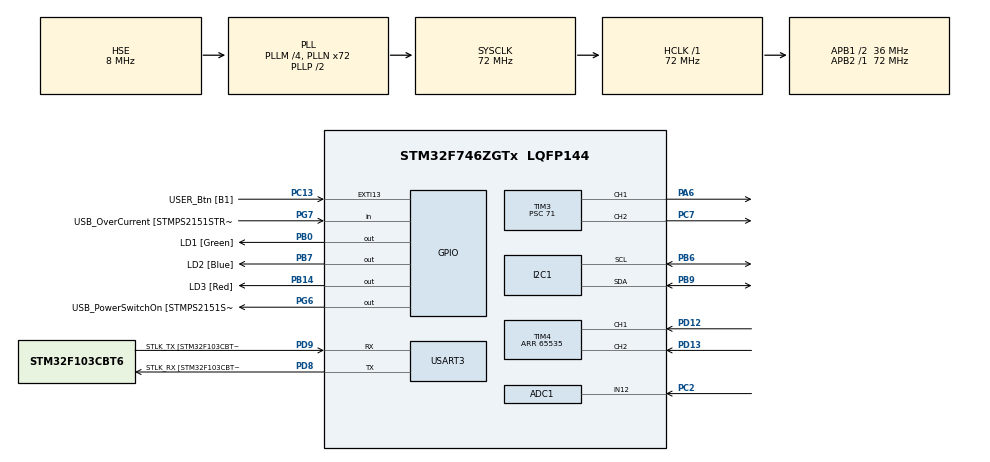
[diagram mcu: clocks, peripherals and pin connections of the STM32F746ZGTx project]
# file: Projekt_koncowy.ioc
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ADC1.Channel-0\#ChannelRegularConversion=ADC_CHANNEL_12
ADC1.NbrOfConversionFlag=1
ADC1.Rank-0\#ChannelRegularConversion=1
ADC1.SamplingTime-0\#ChannelRegularConversion=ADC_SAMPLETIME_3CYCLES
ADC1.master=1
ARM.CMSIS.5.6.0.CMSISJjCORE=true
ARM.CMSIS.5.6.0.CMSISJjDSP=Library
I2C1.Timing=0x00808CD2
Mcu.Family=STM32F7
Mcu.Name=STM32F746ZGTx
Mcu.Package=LQFP144
NVIC.ADC_IRQn=true\:0\:0\:false\:false\:true\:true\:true
NVIC.PriorityGroup=NVIC_PRIORITYGROUP_4
NVIC.TIM4_IRQn=true\:0\:0\:false\:false\:true\:true\:true
NVIC.TIM6_DAC_IRQn=true\:0\:0\:false\:false\:true\:true\:true
NVIC.TIM7_IRQn=true\:0\:0\:false\:false\:true\:true\:true
NVIC.USART3_IRQn=true\:0\:0\:false\:false\:true\:true\:true
PA1.GPIO_Label=RMII_REF_CLK [LAN8742A-CZ-TR_REFCLK0]
PA1.Signal=ETH_REF_CLK
PA10.GPIO_Label=USB_ID
PA10.Signal=USB_OTG_FS_ID
PA11.GPIO_Label=USB_DM
PA11.Signal=USB_OTG_FS_DM
PA12.GPIO_Label=USB_DP
PA12.Signal=USB_OTG_FS_DP
PA13.GPIO_Label=TMS
PA13.Mode=Serial_Wire
PA13.Signal=SYS_JTMS-SWDIO
PA14.GPIO_Label=TCK
PA14.Mode=Serial_Wire
PA14.Signal=SYS_JTCK-SWCLK
PA2.GPIO_Label=RMII_MDIO [LAN8742A-CZ-TR_MDIO]
PA2.Signal=ETH_MDIO
PA6.Signal=S_TIM3_CH1
PA7.GPIO_Label=RMII_CRS_DV [LAN8742A-CZ-TR_CRS_DV]
PA7.Signal=ETH_CRS_DV
PA8.GPIO_Label=USB_SOF [TP1]
PA8.Signal=USB_OTG_FS_SOF
PA9.GPIO_Label=USB_VBUS
PA9.Signal=USB_OTG_FS_VBUS
PB0.GPIO_Label=LD1 [Green]
PB0.Signal=GPIO_Output
PB13.GPIO_Label=RMII_TXD1 [LAN8742A-CZ-TR_TXD1]
PB13.Signal=ETH_TXD1
PB14.GPIO_Label=LD3 [Red]
PB14.Signal=GPIO_Output
PB3.GPIO_Label=SW0
PB3.Signal=SYS_JTDO-SWO
PB6.Mode=I2C
PB6.Signal=I2C1_SCL
PB7.GPIO_Label=LD2 [Blue]
PB7.Signal=GPIO_Output
PB9.Mode=I2C
PB9.Signal=I2C1_SDA
PC1.GPIO_Label=RMII_MDC [LAN8742A-CZ-TR_MDC]
PC1.Signal=ETH_MDC
PC13.GPIO_Label=USER_Btn [B1]
PC13.Signal=GPXTI13
PC14/OSC32_IN.Mode=LSE-External-Oscillator
PC14/OSC32_IN.Signal=RCC_OSC32_IN
PC15/OSC32_OUT.Mode=LSE-External-Oscillator
PC15/OSC32_OUT.Signal=RCC_OSC32_OUT
PC2.Signal=ADCx_IN12
PC4.GPIO_Label=RMII_RXD0 [LAN8742A-CZ-TR_RXD0]
PC4.Signal=ETH_RXD0
PC5.GPIO_Label=RMII_RXD1 [LAN8742A-CZ-TR_RXD1]
PC5.Signal=ETH_RXD1
PC7.Signal=S_TIM3_CH2
PD12.Signal=S_TIM4_CH1
PD13.Signal=S_TIM4_CH2
PD8.GPIO_Label=STLK_RX [STM32F103CBT6_PA3]
PD8.Mode=Asynchronous
PD8.Signal=USART3_TX
PD9.GPIO_Label=STLK_TX [STM32F103CBT6_PA2]
PD9.Mode=Asynchronous
PD9.Signal=USART3_RX
PG11.GPIO_Label=RMII_TX_EN [LAN8742A-CZ-TR_TXEN]
PG11.Signal=ETH_TX_EN
PG13.GPIO_Label=RMII_TXD0 [LAN8742A-CZ-TR_TXD0]
PG13.Signal=ETH_TXD0
PG6.GPIO_Label=USB_PowerSwitchOn [STMPS2151STR_EN]
PG6.Signal=GPIO_Output
PG7.GPIO_Label=USB_OverCurrent [STMPS2151STR_FAULT]
PG7.Signal=GPIO_Input
PH0/OSC_IN.GPIO_Label=MCO [STM32F103CBT6_PA8]
PH0/OSC_IN.Mode=HSE-External-Clock-Source
PH0/OSC_IN.Signal=RCC_OSC_IN
PH1/OSC_OUT.Mode=HSE-External-Clock-Source
PH1/OSC_OUT.Signal=RCC_OSC_OUT
ProjectManager.HeapSize=0x200
ProjectManager.StackSize=0x400
ProjectManager.TargetToolchain=STM32CubeIDE
RCC.48MHZClocksFreq_Value=24000000
RCC.AHBFreq_Value=72000000
RCC.APB1CLKDivider=RCC_HCLK_DIV2
RCC.APB1Freq_Value=36000000
RCC.APB1TimFreq_Value=72000000
RCC.APB2Freq_Value=72000000
RCC.APB2TimFreq_Value=72000000
RCC.CortexFreq_Value=72000000
RCC.HCLKFreq_Value=72000000
RCC.HSE_VALUE=8000000
RCC.HSI_VALUE=16000000
RCC.PLLM=4
RCC.PLLMUL=RCC_PLL_MUL9
RCC.PLLN=72
RCC.PLLQ=3
RCC.PLLSourceVirtual=RCC_PLLSOURCE_HSE
RCC.PRESCALERUSB=RCC_USBCLKSOURCE_PLL_DIV1_5
RCC.SYSCLKFreq_VALUE=72000000
RCC.SYSCLKSource=RCC_SYSCLKSOURCE_PLLCLK
RCC.SYSCLKSourceVirtual=RCC_SYSCLKSOURCE_PLLCLK
RCC.USBFreq_Value=48000000
RCC.VCOOutputFreq_Value=144000000
SH.ADCx_IN12.0=ADC1_IN12,IN12
SH.S_TIM3_CH1.0=TIM3_CH1,PWM Generation1 CH1
SH.S_TIM3_CH2.0=TIM3_CH2,PWM Generation2 CH2
SH.S_TIM4_CH1.0=TIM4_CH1,Encoder_Interface
SH.S_TIM4_CH2.0=TIM4_CH2,Encoder_Interface
TIM3.Channel-PWM\ Generation1\ CH1=TIM_CHANNEL_1
TIM3.Channel-PWM\ Generation2\ CH2=TIM_CHANNEL_2
TIM3.Period=999
TIM3.Prescaler=71
TIM3.Pulse-PWM\ Generation1\ CH1=0
TIM4.AutoReloadPreload=TIM_AUTORELOAD_PRELOAD_DISABLE
TIM4.EncoderMode=TIM_ENCODERMODE_TI12
TIM4.IC1Polarity=TIM_ICPOLARITY_FALLING
TIM4.IC2Polarity=TIM_ICPOLARITY_FALLING
TIM4.Period=65535
TIM4.TIM_MasterOutputTrigger=TIM_TRGO_RESET
TIM6.Period=999
TIM6.Prescaler=7199
TIM7.Period=9999
TIM7.Prescaler=7199
TIM7.TIM_MasterOutputTrigger=TIM_TRGO_UPDATE
USART3.VirtualMode-Asynchronous=VM_ASYNC
VP_ARM.CMSIS_VS_CMSISJjCORE_5.3.0_5.6.0.Mode=CMSISJjCORE
VP_ARM.CMSIS_VS_CMSISJjDSP_1.7.0_5.6.0.Mode=CMSISJjDSP
VP_TIM6_VS_ClockSourceINT.Mode=Enable_Timer
VP_TIM7_VS_ClockSourceINT.Mode=Enable_Timer
board=NUCLEO-F746ZG

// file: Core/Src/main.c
/* USER CODE BEGIN Header */
/**
  ******************************************************************************
  * @file           : main.c
  * @brief          : Main program body
  ******************************************************************************
  * @attention
  *
  * Copyright (c) 2022 STMicroelectronics.
  * All rights reserved.
  *
  * This software is licensed under terms that can be found in the LICENSE file
  * in the root directory of this software component.
  * If no LICENSE file comes with this software, it is provided AS-IS.
  *
  ******************************************************************************
  */
/* USER CODE END Header */
#include "main.h"
#include "adc.h"
#include "i2c.h"
#include "tim.h"
#include "usart.h"
#include "gpio.h"

/* USER CODE BEGIN Includes */
#include "LCD_i2c_config.h"
#include "LCD_i2c.h"
#include "stdio.h"
#include "arm_math.h"
#include <stdlib.h>
/* USER CODE END Includes */

/* USER CODE BEGIN PTD */

//parametry regulatora
#define PID_TS         0.1
#define PID_KP1        0.15
#define PID_KI1        0.35
#define PID_KD1        0.00

/* USER CODE END PTD */

/* USER CODE BEGIN PV */

//inicjalizacje zmiennych

//sygnaly i regulator
uint16_t sygnal_pomiarowy;

int16_t PWM = 0;
int16_t uchyb = 0;
float PWM_float = 0;
char sygnal_sterujacy_send[4];

arm_pid_instance_f32 PID_regulator;

int16_t sygnal_sterujacy;

//komunikacja szeregowa i ekran LCD
char send_line[26];
char send_line_usart[100];

//przetwornik ADC
const uint32_t ADC_REG_MAX = 0xfff;
const float ADC_VOLTAGE_MAX = 3.3;
const uint32_t ADC_TIMEOUT = 100;

uint32_t ADC_measure = 0;
float ADC_measure_V;
uint32_t ADC_measure_mV = 0;
_Bool LCD_update = 0;

//enkoder
uint16_t enco_abs = 0;
int16_t enco = 0;
/* USER CODE END PV */

void SystemClock_Config(void);
/* USER CODE BEGIN PFP */

//reset countera od enkodera
void TIM_ResetCounter(TIM_TypeDef* TIMx)
{
  /* Check the parameters */
  assert_param(IS_TIM_ALL_PERIPH(TIMx));

  /* Reset the Counter Register value */
  TIMx->CNT = 0;
}
/* USER CODE END PFP */

/* USER CODE BEGIN 0 */
void HAL_TIM_PeriodElapsedCallback(TIM_HandleTypeDef *htim)
{

	if (htim->Instance == TIM6)
	{
		if(!LCD_update)
		{
			//pomiar napiecia na dzielniku
			HAL_ADC_Start(&hadc1);
			HAL_ADC_PollForConversion(&hadc1, ADC_TIMEOUT);
			ADC_measure = HAL_ADC_GetValue(&hadc1);
			ADC_measure_V = ((float)ADC_measure/(float)ADC_REG_MAX) * ADC_VOLTAGE_MAX;
			ADC_measure_mV = (uint32_t)(1000.0 * ADC_measure_V);
			sygnal_pomiarowy = (uint16_t)ADC_measure_mV;
		}

		//uchyb i moc PWM
		uchyb = (int16_t)(sygnal_sterujacy - sygnal_pomiarowy);

		PWM_float = arm_pid_f32(&PID_regulator, uchyb);
		PWM = (uint16_t)(PWM_float);

		//anti-windup
		if(PWM_float > 2000)
		{
			PWM = 2000;
			if(PID_regulator.state[2] > 2000)
					{
						PID_regulator.state[2] = 2000;
					}
		}
		else if (PWM_float < 0)
		{
			PWM = 0;
			PID_regulator.state[2] = 0;
		}

		//przypisanie % PWM do odpowiednich kanalow
		if(PWM <= 1000)
		{
			__HAL_TIM_SET_COMPARE(&htim3, TIM_CHANNEL_1, PWM);
			__HAL_TIM_SET_COMPARE(&htim3, TIM_CHANNEL_2, 0);
		}
		else
		{
			__HAL_TIM_SET_COMPARE(&htim3, TIM_CHANNEL_1, 1000);
			__HAL_TIM_SET_COMPARE(&htim3, TIM_CHANNEL_2, (PWM - 1000));
		}
	}

	if (htim->Instance == TIM7)
	{
		HAL_GPIO_TogglePin(LD2_GPIO_Port, LD2_Pin);
		LCD_update = 1;
	}
}

void HAL_UART_RxCpltCallback(UART_HandleTypeDef *huart)
{
	//potwierdzenie wyslania danych
	HAL_GPIO_TogglePin(LD3_GPIO_Port, LD3_Pin);

	if(huart->Instance == USART3)
	{
		sygnal_sterujacy = 1000*((int8_t)sygnal_sterujacy_send[0]-'0')+100*((int8_t)sygnal_sterujacy_send[1]-'0')+10*((int8_t)sygnal_sterujacy_send[2]-'0')+1*((int8_t)sygnal_sterujacy_send[3]-'0');

		//ograniczenie sygnalu sterujacego w bezpiecznym zakresie
			if(sygnal_sterujacy > 2700)
			{
				sygnal_sterujacy = 2700;
			}
			else if(sygnal_sterujacy < 1600)
			{
				sygnal_sterujacy = 1600;
			}

		//ustawienie wartosci sygnalu sterujacego w porcie szeregowym
		HAL_UART_Receive_IT(&huart3, (uint8_t*)sygnal_sterujacy_send, 4);

	}

}
/* USER CODE END 0 */

int main(void)
{

  /* MCU Configuration--------------------------------------------------------*/

  /* Reset of all peripherals, Initializes the Flash interface and the Systick. */
  HAL_Init();

  /* Configure the system clock */
  SystemClock_Config();

  /* Initialize all configured peripherals */
  MX_GPIO_Init();
  MX_USART3_UART_Init();
  MX_TIM3_Init();
  MX_ADC1_Init();
  MX_TIM4_Init();
  MX_TIM6_Init();
  MX_TIM7_Init();
  MX_I2C1_Init();
  /* USER CODE BEGIN 2 */

  //inicjalizacje kanalow PWM, enkodera i USART
  HAL_TIM_PWM_Start(&htim3, TIM_CHANNEL_1);
  HAL_TIM_PWM_Start(&htim3, TIM_CHANNEL_2);
  HAL_TIM_Encoder_Start_IT(&htim4, TIM_CHANNEL_ALL);
  HAL_UART_Receive_IT(&huart3, (uint8_t*)sygnal_sterujacy_send, 4);

  lcd_init(&hLCD_1);
  HAL_Delay(10);
  lcd_send_cmd(&hLCD_1, LCD_DISPLAY_ON_OFF_CONTROL | LCD_OPT_D);

  //parametry regulatora oraz inicjalizacja
  PID_regulator.Kp = PID_KP1;
  PID_regulator.Ki = PID_KI1 * PID_TS;
  PID_regulator.Kd = PID_KD1 / PID_TS;

  arm_pid_init_f32(&PID_regulator, 1);

  HAL_TIM_Base_Start_IT(&htim6);
  HAL_TIM_Base_Start_IT(&htim7);
  /* USER CODE END 2 */

  /* Infinite loop */
  while (1)
  {

    /* USER CODE BEGIN 3 */

	  	  	  //odczyt stanu enkodera
	  	  	  enco_abs = __HAL_TIM_GET_COUNTER(&htim4) / 4;

	  	  	  //ustawienie zakresu pracy enkodera
	  	  	  if(enco_abs > 0 && enco_abs < 1000)
	  	  	  {
	  	  		  enco = enco_abs;
	  	  	  }
	  	  	  else if(enco_abs <= 16384 && enco_abs > 15000)
	  	  	  {
	  	  		  enco = -(16384 - enco_abs);
	  	  	  }

	  	  	  //zmiana wartosci sygnalu sterujacego za pomoca enkodera
	  	  	  sygnal_sterujacy = sygnal_sterujacy + enco;

	  	  	  //ograniczenie sygnalu sterujacego, gdy jest zmieniany z uzyciem enkodera
	  	  	  if(sygnal_sterujacy > 2700)
	  	  				{
	  	  					sygnal_sterujacy = 2700;
	  	  				}
	  	  				else if(sygnal_sterujacy < 1600)
	  	  				{
	  	  					sygnal_sterujacy = 1600;
	  	  				}

	  	  	  //reset stanu enkodera
	  	  	  TIM_ResetCounter(TIM4);
	  	  	  enco_abs = 0;
	  	  	  enco = 0;

	  		if(LCD_update)
	  			  {
	  				  //odczyt wartosci sygnalow na ekranie LCD
	  				  sprintf(send_line, "Set: mV:  PWM:");
	  				  lcd_clear(&hLCD_1);
	  				  lcd_send_string (&hLCD_1, send_line, 0, 0);
	  				  HAL_Delay(2);
	  				  sprintf(send_line, "%d %d %d", (uint16_t)sygnal_sterujacy, (uint16_t)sygnal_pomiarowy, (uint16_t)PWM);
	  				  lcd_send_string (&hLCD_1, send_line, 1, 0);

	  				  //odczyt wartosci sygnalow w porcie szeregowym
	  		  		  uint8_t n = sprintf(send_line_usart, "Sygnal_sterujacy: %d; Sygnal_pomiarowy: %d; PWM: %d; \n\r", (uint16_t)sygnal_sterujacy, (uint16_t)sygnal_pomiarowy, (uint16_t)PWM);
	  		  		  HAL_UART_Transmit(&huart3, (uint8_t*)send_line_usart, n, 100);
	  				  LCD_update = 0;
	  			  }

	  	  //opoznienie odczytu danych
	 	  HAL_Delay(1000);
  }
  /* USER CODE END 3 */
}

void SystemClock_Config(void)
{
  RCC_OscInitTypeDef RCC_OscInitStruct = {0};
  RCC_ClkInitTypeDef RCC_ClkInitStruct = {0};

  /** Configure LSE Drive Capability
  */
  HAL_PWR_EnableBkUpAccess();
  /** Configure the main internal regulator output voltage
  */
  __HAL_RCC_PWR_CLK_ENABLE();
  __HAL_PWR_VOLTAGESCALING_CONFIG(PWR_REGULATOR_VOLTAGE_SCALE3);
  /** Initializes the RCC Oscillators according to the specified parameters
  * in the RCC_OscInitTypeDef structure.
  */
  RCC_OscInitStruct.OscillatorType = RCC_OSCILLATORTYPE_HSE;
  RCC_OscInitStruct.HSEState = RCC_HSE_BYPASS;
  RCC_OscInitStruct.PLL.PLLState = RCC_PLL_ON;
  RCC_OscInitStruct.PLL.PLLSource = RCC_PLLSOURCE_HSE;
  RCC_OscInitStruct.PLL.PLLM = 4;
  RCC_OscInitStruct.PLL.PLLN = 72;
  RCC_OscInitStruct.PLL.PLLP = RCC_PLLP_DIV2;
  RCC_OscInitStruct.PLL.PLLQ = 3;
  if (HAL_RCC_OscConfig(&RCC_OscInitStruct) != HAL_OK)
  {
    Error_Handler();
  }
  /** Initializes the CPU, AHB and APB buses clocks
  */
  RCC_ClkInitStruct.ClockType = RCC_CLOCKTYPE_HCLK|RCC_CLOCKTYPE_SYSCLK
                              |RCC_CLOCKTYPE_PCLK1|RCC_CLOCKTYPE_PCLK2;
  RCC_ClkInitStruct.SYSCLKSource = RCC_SYSCLKSOURCE_PLLCLK;
  RCC_ClkInitStruct.AHBCLKDivider = RCC_SYSCLK_DIV1;
  RCC_ClkInitStruct.APB1CLKDivider = RCC_HCLK_DIV2;
  RCC_ClkInitStruct.APB2CLKDivider = RCC_HCLK_DIV1;

  if (HAL_RCC_ClockConfig(&RCC_ClkInitStruct, FLASH_LATENCY_2) != HAL_OK)
  {
    Error_Handler();
  }
}

void Error_Handler(void)
{
  __disable_irq();
  while (1)
  {
  }
}
